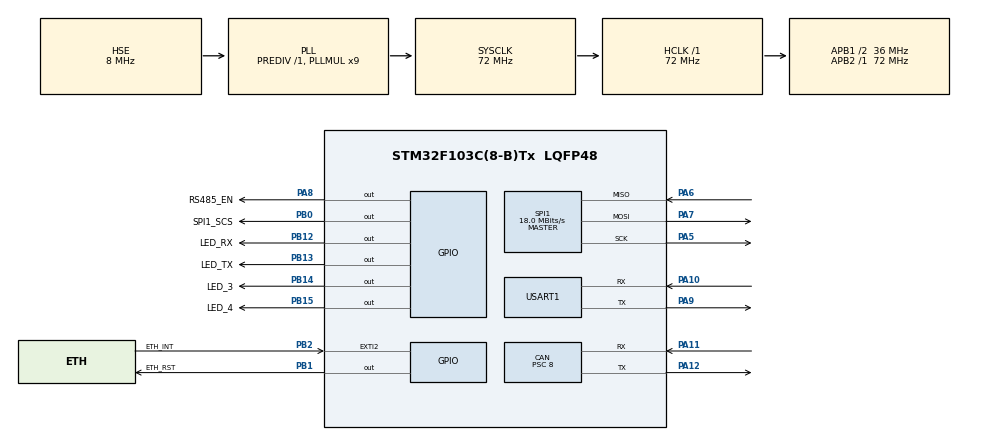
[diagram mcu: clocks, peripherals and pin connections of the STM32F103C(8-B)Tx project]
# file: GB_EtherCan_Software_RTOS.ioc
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CAN.ABOM=DISABLE
CAN.AWUM=DISABLE
CAN.BS1=CAN_BS1_15TQ
CAN.BS2=CAN_BS2_2TQ
CAN.CalculateBaudRate=250000
CAN.CalculateTimeBit=4000
CAN.CalculateTimeQuantum=222.22222222222223
CAN.Mode=CAN_MODE_NORMAL
CAN.NART=ENABLE
CAN.Prescaler=8
CAN.SJW=CAN_SJW_1TQ
Dma.Request0=USART1_RX
Dma.Request1=USART1_TX
Dma.USART1_RX.0.Direction=DMA_PERIPH_TO_MEMORY
Dma.USART1_RX.0.Instance=DMA1_Channel5
Dma.USART1_RX.0.MemDataAlignment=DMA_MDATAALIGN_BYTE
Dma.USART1_RX.0.MemInc=DMA_MINC_ENABLE
Dma.USART1_RX.0.Mode=DMA_CIRCULAR
Dma.USART1_RX.0.PeriphDataAlignment=DMA_PDATAALIGN_BYTE
Dma.USART1_RX.0.PeriphInc=DMA_PINC_DISABLE
Dma.USART1_RX.0.Priority=DMA_PRIORITY_LOW
Dma.USART1_TX.1.Direction=DMA_MEMORY_TO_PERIPH
Dma.USART1_TX.1.Instance=DMA1_Channel4
Dma.USART1_TX.1.MemDataAlignment=DMA_MDATAALIGN_BYTE
Dma.USART1_TX.1.MemInc=DMA_MINC_ENABLE
Dma.USART1_TX.1.Mode=DMA_NORMAL
Dma.USART1_TX.1.PeriphDataAlignment=DMA_PDATAALIGN_BYTE
Dma.USART1_TX.1.PeriphInc=DMA_PINC_DISABLE
Dma.USART1_TX.1.Priority=DMA_PRIORITY_LOW
FREERTOS.Tasks01=ethernetHandler,24,256,StartEthernetHandlerTask,Default,NULL,Dynamic,NULL,NULL
FREERTOS.configUSE_NEWLIB_REENTRANT=1
FREERTOS.configUSE_PREEMPTION=0
Mcu.Family=STM32F1
Mcu.Name=STM32F103C(8-B)Tx
Mcu.Package=LQFP48
NVIC.DMA1_Channel4_IRQn=true\:5\:0\:false\:false\:true\:true\:false\:true\:true
NVIC.DMA1_Channel5_IRQn=true\:5\:0\:false\:false\:true\:true\:false\:true\:true
NVIC.EXTI2_IRQn=true\:5\:0\:true\:false\:true\:true\:true\:true\:true
NVIC.PriorityGroup=NVIC_PRIORITYGROUP_4
NVIC.TIM4_IRQn=true\:0\:0\:true\:false\:true\:false\:false\:true\:true
NVIC.TimeBase=TIM4_IRQn
NVIC.TimeBaseIP=TIM4
NVIC.USART1_IRQn=true\:5\:0\:true\:false\:true\:true\:true\:true\:true
NVIC.USB_LP_CAN1_RX0_IRQn=true\:5\:0\:true\:false\:true\:true\:true\:true\:true
PA10.Mode=Asynchronous
PA10.Signal=USART1_RX
PA11.GPIO_PuPd=GPIO_NOPULL
PA11.Mode=CAN_Activate
PA11.Signal=CAN_RX
PA12.Mode=CAN_Activate
PA12.Signal=CAN_TX
PA13.Mode=Serial_Wire
PA13.Signal=SYS_JTMS-SWDIO
PA14.Mode=Serial_Wire
PA14.Signal=SYS_JTCK-SWCLK
PA5.Mode=Full_Duplex_Master
PA5.Signal=SPI1_SCK
PA6.Mode=Full_Duplex_Master
PA6.Signal=SPI1_MISO
PA7.Mode=Full_Duplex_Master
PA7.Signal=SPI1_MOSI
PA8.GPIO_Label=RS485_EN
PA8.Signal=GPIO_Output
PA9.Mode=Asynchronous
PA9.Signal=USART1_TX
PB0.GPIO_Label=SPI1_SCS
PB0.Signal=GPIO_Output
PB1.GPIO_Label=ETH_RST
PB1.Signal=GPIO_Output
PB12.GPIO_Label=LED_RX
PB12.Signal=GPIO_Output
PB13.GPIO_Label=LED_TX
PB13.Signal=GPIO_Output
PB14.GPIO_Label=LED_3
PB14.Signal=GPIO_Output
PB15.GPIO_Label=LED_4
PB15.Signal=GPIO_Output
PB2.GPIO_Label=ETH_INT
PB2.GPIO_ModeDefaultEXTI=GPIO_MODE_IT_FALLING
PB2.GPIO_PuPd=GPIO_NOPULL
PB2.Signal=GPXTI2
PD0-OSC_IN.Mode=HSE-External-Oscillator
PD0-OSC_IN.Signal=RCC_OSC_IN
PD1-OSC_OUT.Mode=HSE-External-Oscillator
PD1-OSC_OUT.Signal=RCC_OSC_OUT
ProjectManager.HeapSize=0x200
ProjectManager.StackSize=0x400
ProjectManager.TargetToolchain=STM32CubeIDE
RCC.AHBFreq_Value=72000000
RCC.APB1CLKDivider=RCC_HCLK_DIV2
RCC.APB1Freq_Value=36000000
RCC.APB1TimFreq_Value=72000000
RCC.APB2Freq_Value=72000000
RCC.APB2TimFreq_Value=72000000
RCC.HCLKFreq_Value=72000000
RCC.PLLMUL=RCC_PLL_MUL9
RCC.PLLSourceVirtual=RCC_PLLSOURCE_HSE
RCC.RCC_MCOSource=RCC_MCO1SOURCE_HSE
RCC.SYSCLKFreq_VALUE=72000000
RCC.SYSCLKSource=RCC_SYSCLKSOURCE_PLLCLK
RCC.USBFreq_Value=72000000
SPI1.BaudRatePrescaler=SPI_BAUDRATEPRESCALER_4
SPI1.CRCCalculation=SPI_CRCCALCULATION_DISABLE
SPI1.CalculateBaudRate=18.0 MBits/s
SPI1.DataSize=SPI_DATASIZE_8BIT
SPI1.Direction=SPI_DIRECTION_2LINES
SPI1.Mode=SPI_MODE_MASTER
SPI1.VirtualNSS=VM_NSSHARD
SPI1.VirtualType=VM_MASTER
USART1.VirtualMode=VM_ASYNC
VP_FREERTOS_VS_CMSIS_V2.Mode=CMSIS_V2
VP_SYS_VS_tim4.Mode=TIM4
board=custom

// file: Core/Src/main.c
/* USER CODE BEGIN Header */
/**
  ******************************************************************************
  * @file           : main.c
  * @brief          : Main program body
  ******************************************************************************
  * @attention
  *
  * Copyright (c) 2022 STMicroelectronics.
  * All rights reserved.
  *
  * This software is licensed under terms that can be found in the LICENSE file
  * in the root directory of this software component.
  * If no LICENSE file comes with this software, it is provided AS-IS.
  *
  ******************************************************************************
  */
/* USER CODE END Header */
#include "main.h"
#include "cmsis_os.h"
#include "can.h"
#include "dma.h"
#include "spi.h"
#include "usart.h"
#include "gpio.h"

/* USER CODE BEGIN Includes */
#include "wizchip_conf.h"
#include "socket.h"

#include "jsmn.h"
#include <string.h>
#include <stdio.h>
#include <stdlib.h>

/* USER CODE END Includes */

/* USER CODE BEGIN PD */
#define True 	1
#define False 	0

#define DEVICE_ID 			0
#define FRIMWARE_VERSION	2
#define HARDWARE_VERSION	2
#define SOCKET_NUMBER		0
#define DATA_BUF_SIZE		2048
#define PORT_UDPS       	56800

#define MASTER_ID			200

#define rxJSON_size 		200
#define txJSON_size 		200

/* USER CODE END PD */

/* USER CODE BEGIN PV */
uint8_t rxJSON[rxJSON_size];
uint8_t txJSON[txJSON_size];

uint8_t destip[4] = {192, 168, 1, 255};

wiz_NetInfo gWIZNETINFO = 	{	.mac	= {0x00, 0x08, 0xdc, 0xab, 0xcd, 0xef},
								.ip		= {192, 168, 1, 101},
								.sn 	= {255, 255, 255, 0},
								.gw 	= {192, 168, 1, 1},
                            };

uint8_t CanMessageReceived;
extern CAN_TxHeaderTypeDef pTxHeader;
extern CAN_RxHeaderTypeDef pRxHeader;
extern uint32_t TxMailbox;
extern uint8_t CanSendArray[8],CanReceiveArray[8];
uint8_t RsRxData[8];
uint8_t RsTxData[8];

uint8_t is_ping = False;
uint8_t connection_is_established = 0;
uint32_t t1 = 0;
uint32_t t2 = 0;

/* USER CODE END PV */

void SystemClock_Config(void);
void MX_FREERTOS_Init(void);

/* USER CODE BEGIN 0 */
void W5500_Select(void) {
	HAL_GPIO_WritePin(SPI1_SCS_GPIO_Port, SPI1_SCS_Pin, GPIO_PIN_RESET);
}

void W5500_Unselect(void) {
	HAL_GPIO_WritePin(SPI1_SCS_GPIO_Port, SPI1_SCS_Pin, GPIO_PIN_SET);
}

void W5500_ReadBuff(uint8_t* buff, uint16_t len) {
	HAL_SPI_Receive(&hspi1, buff, len, HAL_MAX_DELAY);
}

void W5500_WriteBuff(uint8_t* buff, uint16_t len) {
	HAL_SPI_Transmit(&hspi1, buff, len, HAL_MAX_DELAY);
}

uint8_t W5500_ReadByte(void) {
	uint8_t byte;
	W5500_ReadBuff(&byte, sizeof(byte));
	return byte;
}

void W5500_WriteByte(uint8_t byte) {
	W5500_WriteBuff(&byte, sizeof(byte));
}

void Ethernet_Init() {
	HAL_GPIO_WritePin(ETH_RST_GPIO_Port, ETH_RST_Pin, GPIO_PIN_SET);

	reg_wizchip_cs_cbfunc(W5500_Select, W5500_Unselect);
	reg_wizchip_spi_cbfunc(W5500_ReadByte, W5500_WriteByte);
	reg_wizchip_spiburst_cbfunc(W5500_ReadBuff, W5500_WriteBuff);

	uint8_t rx_tx_buff_sizes[] = {16, 0, 0, 0, 0, 0, 0, 0};
	wizchip_init(rx_tx_buff_sizes, rx_tx_buff_sizes);
	wizchip_setnetinfo(&gWIZNETINFO);
	wizchip_getnetinfo(&gWIZNETINFO);
}

int32_t UDP_Loop(uint8_t sn, uint8_t* buf, uint16_t port)
{
	memset(&txJSON, '\0', txJSON_size);
	memset(&rxJSON, '\0', rxJSON_size);
	int32_t ret;
	uint16_t size;
	uint16_t destport;

	switch (getSn_SR(sn))
	{
		case SOCK_UDP:
			if (CanMessageReceived)
			{
				connection_is_established = 1;
				t1 = HAL_GetTick();
				pRxHeader.DLC = 8;

				sprintf((char*)txJSON, "{507,232,4,%02X,%lu,%02X,%02X,%02X,%02X,%02X,%02X,%02X,%02X}",
				pRxHeader.StdId, pRxHeader.DLC, RsTxData[0], RsTxData[1], RsTxData[2], RsTxData[3], RsTxData[4], RsTxData[5], RsTxData[6], RsTxData[7]);

				sendto(sn, txJSON, (strcspn((char*)txJSON, "}") + 1), destip, 56801);
				CanMessageReceived = 0;
				return 1;
			}
			if ((size = getSn_RX_RSR(sn)) > 0)
			{
				if (size > DATA_BUF_SIZE)
				size = DATA_BUF_SIZE;
				ret = recvfrom(sn, buf, size, destip, (uint16_t*) &destport);
				if (ret <= 0) return ret;
				size = (uint16_t) ret;
				memcpy(&rxJSON, &buf[1], size-2);
				char *token = strtok((char *) rxJSON, ",");
				if(strcmp(token, "007") == 0)
				{
					token = strtok(NULL, ",");
					if(strcmp(token, "232") == 0)
					{
						token = strtok(NULL, ",");
						if(strcmp(token, "001") == 0)
						{
							token = strtok(NULL, ",");
							pTxHeader.StdId = (int)strtol(token, NULL, 16); ;
							token = strtok(NULL, ",");
							pTxHeader.DLC = atoi(token);
							token = strtok(NULL, ",");
							for (int i = 0; i < pTxHeader.DLC; i++)
							{
								sscanf(token + 2*i, "%02x", (unsigned int *) &CanSendArray[i]);
							}
							is_ping = False;
							HAL_CAN_AddTxMessage(&hcan, &pTxHeader, CanSendArray, &TxMailbox);
							HAL_GPIO_TogglePin(LED_3_GPIO_Port, LED_3_Pin);

						}
					}
				}
			}
			break;
		case SOCK_CLOSED:
			if((ret = socket(sn, Sn_MR_UDP, PORT_UDPS, 0x01)) != sn) return ret;
			break;
		default:
			break;
	}
	return 1;
}

int32_t TCP_Loop(uint8_t sn, uint8_t* buf, uint16_t port)
{
	memset(&txJSON, '\0', txJSON_size);
	memset(&rxJSON, '\0', rxJSON_size);
	int32_t ret;
	uint16_t size = 0;

	switch(getSn_SR(sn))
	{
		case SOCK_ESTABLISHED :
			if(getSn_IR(sn) & Sn_IR_CON)
			{
				setSn_IR(sn, Sn_IR_CON);
			}
			if (CanMessageReceived)
			{
				t1 = HAL_GetTick();

				txJSON[0] = 0xAA;
				txJSON[1] = pRxHeader.StdId;
				txJSON[2] = pRxHeader.DLC;
				for(int i = 0; i < pRxHeader.DLC; i++)
				{
					txJSON[3 + i] = RsTxData[i];
				}

				send(sn, txJSON, 3 + pRxHeader.DLC);
				CanMessageReceived = 0;
				break;
			}
			if((size = getSn_RX_RSR(sn)) > 0) // Don't need to check SOCKERR_BUSY because it doesn't not occur.
			{
				if (size > DATA_BUF_SIZE)
				size = DATA_BUF_SIZE;
				ret = recv(sn, buf, size);
				if (ret <= 0) return ret;
				size = (uint16_t) ret;
				memcpy(&rxJSON, &buf[0], size);
				if(rxJSON[0] == 0xFF)
				{
					pTxHeader.StdId = rxJSON[1];
					pTxHeader.DLC	= rxJSON[2];
					for(int i = 0; i < pTxHeader.DLC; i++)
					{
						CanSendArray[i] = rxJSON[3 + i];
					}
				}
				HAL_CAN_AddTxMessage(&hcan, &pTxHeader, CanSendArray, &TxMailbox);
			}
			break;
		case SOCK_CLOSE_WAIT :
			if((ret = disconnect(sn)) != SOCK_OK) return ret;
			break;
		case SOCK_INIT :
			if( (ret = listen(sn)) != SOCK_OK) return ret;
			break;
		case SOCK_CLOSED:
			if((ret = socket(sn, Sn_MR_TCP, port, 0x00)) != sn) return ret;
			break;
		default:
			break;
   }
   return 1;
}

/* USER CODE END 0 */

int main(void)
{

  /* MCU Configuration--------------------------------------------------------*/

  /* Reset of all peripherals, Initializes the Flash interface and the Systick. */
  HAL_Init();

  /* Configure the system clock */
  SystemClock_Config();

  /* Initialize all configured peripherals */
  MX_GPIO_Init();
  MX_DMA_Init();
  MX_SPI1_Init();
  MX_USART1_UART_Init();
  MX_CAN_Init();

  /* Init scheduler */
  osKernelInitialize();  /* Call init function for freertos objects (in freertos.c) */
  MX_FREERTOS_Init();

  /* Start scheduler */
  osKernelStart();

  /* We should never get here as control is now taken by the scheduler */
  /* Infinite loop */
  while (1)
  {

  }
}

void SystemClock_Config(void)
{
  RCC_OscInitTypeDef RCC_OscInitStruct = {0};
  RCC_ClkInitTypeDef RCC_ClkInitStruct = {0};

  /** Initializes the RCC Oscillators according to the specified parameters
  * in the RCC_OscInitTypeDef structure.
  */
  RCC_OscInitStruct.OscillatorType = RCC_OSCILLATORTYPE_HSE;
  RCC_OscInitStruct.HSEState = RCC_HSE_ON;
  RCC_OscInitStruct.HSEPredivValue = RCC_HSE_PREDIV_DIV1;
  RCC_OscInitStruct.HSIState = RCC_HSI_ON;
  RCC_OscInitStruct.PLL.PLLState = RCC_PLL_ON;
  RCC_OscInitStruct.PLL.PLLSource = RCC_PLLSOURCE_HSE;
  RCC_OscInitStruct.PLL.PLLMUL = RCC_PLL_MUL9;
  if (HAL_RCC_OscConfig(&RCC_OscInitStruct) != HAL_OK)
  {
    Error_Handler();
  }

  /** Initializes the CPU, AHB and APB buses clocks
  */
  RCC_ClkInitStruct.ClockType = RCC_CLOCKTYPE_HCLK|RCC_CLOCKTYPE_SYSCLK
                              |RCC_CLOCKTYPE_PCLK1|RCC_CLOCKTYPE_PCLK2;
  RCC_ClkInitStruct.SYSCLKSource = RCC_SYSCLKSOURCE_PLLCLK;
  RCC_ClkInitStruct.AHBCLKDivider = RCC_SYSCLK_DIV1;
  RCC_ClkInitStruct.APB1CLKDivider = RCC_HCLK_DIV2;
  RCC_ClkInitStruct.APB2CLKDivider = RCC_HCLK_DIV1;

  if (HAL_RCC_ClockConfig(&RCC_ClkInitStruct, FLASH_LATENCY_2) != HAL_OK)
  {
    Error_Handler();
  }
}

/* USER CODE BEGIN 4 */
void HAL_CAN_RxFifo0MsgPendingCallback(CAN_HandleTypeDef *hcan)
{

	HAL_CAN_GetRxMessage(hcan, CAN_RX_FIFO0, &pRxHeader, CanReceiveArray);
	memcpy(RsTxData, CanReceiveArray, 8);
	CanMessageReceived = 1;
}
/* USER CODE END 4 */

void HAL_TIM_PeriodElapsedCallback(TIM_HandleTypeDef *htim)
{
  if (htim->Instance == TIM4) {
    HAL_IncTick();
  }
}

void Error_Handler(void)
{
  __disable_irq();
  while (1)
  {
  }
}

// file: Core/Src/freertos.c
/* USER CODE BEGIN Header */
/**
  ******************************************************************************
  * File Name          : freertos.c
  * Description        : Code for freertos applications
  ******************************************************************************
  * @attention
  *
  * Copyright (c) 2022 STMicroelectronics.
  * All rights reserved.
  *
  * This software is licensed under terms that can be found in the LICENSE file
  * in the root directory of this software component.
  * If no LICENSE file comes with this software, it is provided AS-IS.
  *
  ******************************************************************************
  */
/* USER CODE END Header */

#include "FreeRTOS.h"
#include "task.h"
#include "main.h"
#include "cmsis_os.h"

/* USER CODE BEGIN PD */
#define SOCKET_NUMBER 	0
#define TCP_PORT		56800
#define UDP_PORT		56800
#define UDP_BUF_SIZE   	2048

/* USER CODE END PD */

/* USER CODE BEGIN Variables */
extern void 	Ethernet_Init(void);
extern int32_t 	UDP_Loop(uint8_t sn, uint8_t* buf, uint16_t port);
extern int32_t	TCP_Loop(uint8_t sn, uint8_t* buf, uint16_t port);

uint8_t gDATABUF[UDP_BUF_SIZE];

/* USER CODE END Variables */
/* Definitions for ethernetHandler */
osThreadId_t ethernetHandlerHandle;
const osThreadAttr_t ethernetHandler_attributes = {
  .name = "ethernetHandler",
  .stack_size = 256 * 4,
  .priority = (osPriority_t) osPriorityNormal,
};

void StartEthernetHandlerTask(void *argument);

void MX_FREERTOS_Init(void); /* (MISRA C 2004 rule 8.1) */

void MX_FREERTOS_Init(void) {

  /* Create the thread(s) */
  /* creation of ethernetHandler */
  ethernetHandlerHandle = osThreadNew(StartEthernetHandlerTask, NULL, &ethernetHandler_attributes);

}

void StartEthernetHandlerTask(void *argument)
{
  /* USER CODE BEGIN StartEthernetHandlerTask */
	Ethernet_Init();

  /* Infinite loop */
  for(;;)
  {
//	UDP_Loop(SOCKET_NUMBER, gDATABUF, UDP_PORT);
    TCP_Loop(SOCKET_NUMBER, gDATABUF, TCP_PORT);
    osDelay(1);
  }
  /* USER CODE END StartEthernetHandlerTask */
}
